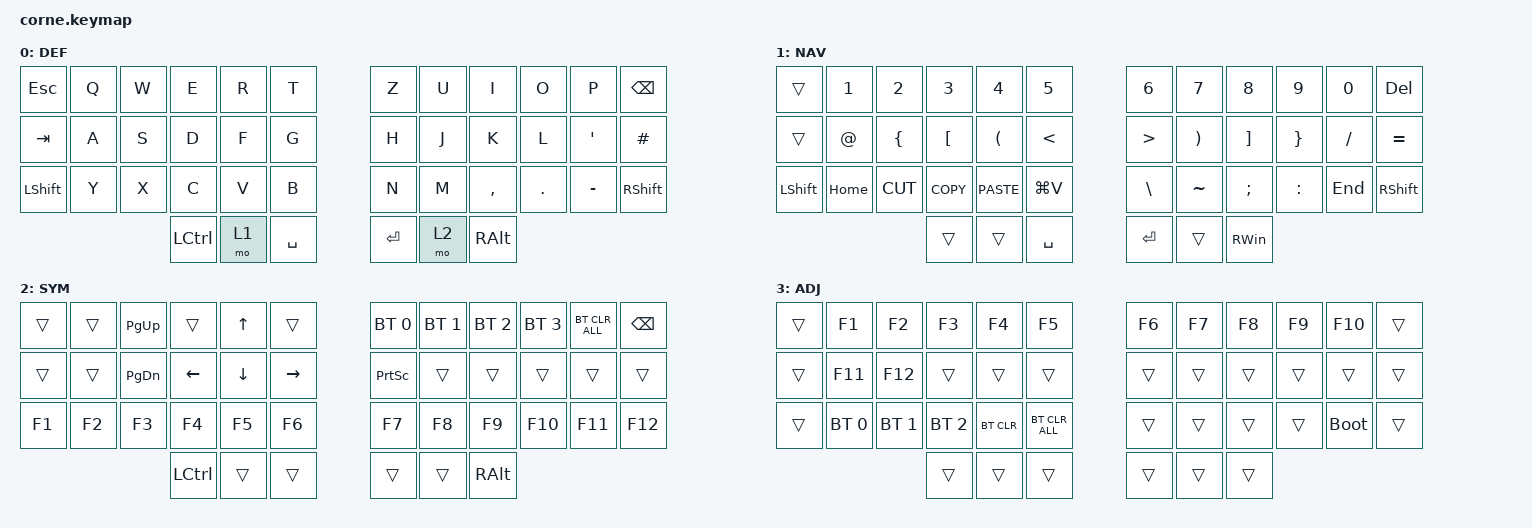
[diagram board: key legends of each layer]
#include <behaviors.dtsi>
#include <dt-bindings/zmk/bt.h>
#include <dt-bindings/zmk/keys.h>

#define DEF 0
#define NAV 1
#define SYM 2
#define ADJ 3

/ {
    behaviors {
        hm: homerow_mods {
            compatible = "zmk,behavior-hold-tap";
            label = "HOMEROW_MODS";
            #binding-cells = <2>;
            tapping-term-ms = <200>;
            quick_tap_ms = <0>;
            flavor = "tap-preferred";
            bindings = <&kp>, <&kp>;

            quick-tap-ms = <180>;
            global-quick-tap;
        };

        para: para {
            compatible = "zmk,behavior-tap-dance";
            label = "PARA";
            #binding-cells = <0>;
            bindings = <&kp LEFT_PARENTHESIS>, <&kp RIGHT_PARENTHESIS>;
        };

        caps: caps {
            compatible = "zmk,behavior-caps-word";
            label = "CAPS";
            #binding-cells = <0>;
            continue-list = <MINUS BACKSPACE>;
        };

        paraless: paraless {
            compatible = "zmk,behavior-mod-morph";
            label = "PARALESS";
            bindings = <&kp LEFT_PARENTHESIS>, <&kp LESS_THAN>;

            #binding-cells = <0>;
            mods = <(MOD_LSFT)>;
        };

        paragreat: paragreat {
            compatible = "zmk,behavior-mod-morph";
            label = "PARAGREAT";
            bindings = <&kp RIGHT_PARENTHESIS>, <&kp GREATER_THAN>;

            #binding-cells = <0>;
            mods = <(MOD_LSFT)>;
        };
    };

    combos {
        compatible = "zmk,combos";

        backspace {
            bindings = <&kp BACKSPACE>;
            key-positions = <19 20>;
        };

        escape {
            bindings = <&kp ESCAPE>;
            key-positions = <13 29>;
        };

        delete {
            bindings = <&kp DELETE>;
            key-positions = <15 21>;
        };

        prntscreen {
            bindings = <&kp PRINTSCREEN>;
            key-positions = <10 22>;
        };

        perc {
            bindings = <&kp PERCENT>;
            key-positions = <5 17>;
        };

        equal {
            bindings = <&kp EQUAL>;
            key-positions = <28 16>;
        };

        dollar {
            bindings = <&kp DOLLAR>;
            key-positions = <4 16>;
        };

        pound {
            bindings = <&kp POUND>;
            key-positions = <3 15>;
        };

        at {
            bindings = <&kp AT>;
            key-positions = <2 14>;
        };

        backslash {
            bindings = <&kp BACKSLASH>;
            key-positions = <26 14>;
        };

        copy {
            bindings = <&kp K_COPY>;
            key-positions = <28 27>;
        };

        paste {
            bindings = <&kp K_PASTE>;
            key-positions = <26 27>;
        };

        star {
            bindings = <&kp STAR>;
            key-positions = <8 20>;
        };

        slash {
            bindings = <&kp SLASH>;
            key-positions = <32 20>;
        };

        plus {
            bindings = <&kp PLUS>;
            key-positions = <7 19>;
        };

        minus {
            bindings = <&kp KP_MINUS>;
            key-positions = <31 19>;
        };

        underscore {
            bindings = <&kp UNDER>;
            key-positions = <30 18>;
        };

        leftbrack {
            bindings = <&kp LEFT_BRACKET>;
            key-positions = <31 32>;
        };

        rightbrack {
            bindings = <&kp RIGHT_BRACKET>;
            key-positions = <33 32>;
        };

        para-less {
            bindings = <&paraless>;
            key-positions = <20 19>;
        };

        para-great {
            bindings = <&paragreat>;
            key-positions = <20 21>;
        };
    };

    //

    keymap {
        compatible = "zmk,keymap";

        DEF {
            // -----------------------------------------------------------------------------------------
            // |  Q  |  W  |  E  |  R  |  T  |   |  Y  |  U   |  I  |  O  |  P  |
            // |  A  |  S  |  D  |  F  |  G  |   |  H  |  J   |  K  |  L  |  ;  |
            // |  Z  |  X  |  C  |  V  |  B  |   |  N  |  M   |  ,  |  .  |  /  |
            // | GUI | CTRL | SHFT | LWR | SPC |   | ENT | RSE  | BKSP | ALT | ESC |

            bindings = <
&kp ESC    &kp Q  &kp W  &kp E      &kp R  &kp T        &kp Z    &kp U  &kp I          &kp O    &kp P      &kp BACKSPACE
&kp TAB    &kp A  &kp S  &kp D      &kp F  &kp G        &kp H    &kp J  &kp K          &kp L    &kp APOS   &kp HASH
&kp LSHFT  &kp Y  &kp X  &kp C      &kp V  &kp B        &kp N    &kp M  &kp COMMA      &kp DOT  &kp MINUS  &kp RSHFT
                         &kp LCTRL  &mo 1  &kp SPACE    &kp RET  &mo 2  &kp RIGHT_ALT
            >;
        };

        NAV {
            // -----------------------------------------------------------------------------------------
            // |  TAB |  1  |  2  |  3  |  4  |  5  |   |  6  |  7  |  8  |  9  |  0  | BKSP |
            // | BTCLR| BT1 | BT2 | BT3 | BT4 | BT5 |   | LFT | DWN |  UP | RGT |     |      |
            // | SHFT |     |     |     |     |     |   |     |     |     |     |     |      |
            // | GUI | CTRL | SHFT | LWR | SPC |   | ENT | RSE  | BKSP | ALT | ESC |

            bindings = <
&trans          &kp N1    &kp N2          &kp N3            &kp N4                &kp N5           &kp N6            &kp N7                 &kp N8             &kp N9           &kp N0     &kp DELETE
&trans          &kp AT    &kp LEFT_BRACE  &kp LEFT_BRACKET  &kp LEFT_PARENTHESIS  &kp LESS_THAN    &kp GREATER_THAN  &kp RIGHT_PARENTHESIS  &kp RIGHT_BRACKET  &kp RIGHT_BRACE  &kp SLASH  &kp EQUAL
&kp LEFT_SHIFT  &kp HOME  &kp K_CUT       &kp K_COPY        &kp K_PASTE           &kp LG(V)        &kp BACKSLASH     &kp TILDE              &kp SEMI           &kp COLON        &kp END    &kp RIGHT_SHIFT
                                          &trans            &trans                &kp SPACE        &kp RET           &trans                 &kp RIGHT_WIN
            >;
        };

        SYM {
            // -----------------------------------------------------------------------------------------
            // |  TAB |  !  |  @  |  #  |  $  |  %  |   |  ^  |  &  |  *  |  (  |  )  | BKSP |
            // | CTRL |     |     |     |     |     |   |  -  |  =  |  [  |  ]  |  \  |  `   |
            // | SHFT |     |     |     |     |     |   |  _  |  +  |  {  |  }  | "|" |  ~   |
            //                    | GUI |     | SPC |   | ENT |     | ALT |

            bindings = <
&trans  &trans  &kp PG_UP  &trans            &kp UP    &trans       &bt BT_SEL 0     &bt BT_SEL 1  &bt BT_SEL 2   &bt BT_SEL 3  &bt BT_CLR_ALL  &kp BACKSPACE
&trans  &trans  &kp PG_DN  &kp LEFT          &kp DOWN  &kp RIGHT    &kp PRINTSCREEN  &trans        &trans         &trans        &trans          &trans
&kp F1  &kp F2  &kp F3     &kp F4            &kp F5    &kp F6       &kp F7           &kp F8        &kp F9         &kp F10       &kp F11         &kp F12
                           &kp LEFT_CONTROL  &trans    &trans       &trans           &trans        &kp RIGHT_ALT
            >;
        };

        ADJ {
            bindings = <
&trans  &kp F1        &kp F2        &kp F3        &kp F4      &kp F5            &kp F6  &kp F7  &kp F8  &kp F9  &kp F10      &trans
&trans  &kp F11       &kp F12       &trans        &trans      &trans            &trans  &trans  &trans  &trans  &trans       &trans
&trans  &bt BT_SEL 0  &bt BT_SEL 1  &bt BT_SEL 2  &bt BT_CLR  &bt BT_CLR_ALL    &trans  &trans  &trans  &trans  &bootloader  &trans
                                    &trans        &trans      &trans            &trans  &trans  &trans
            >;
        };
    };

    conditional_layers {
        compatible = "zmk,conditional-layers";

        l3 {
            if-layers = <1 2>;
            then-layer = <3>;
        };
    };
};
